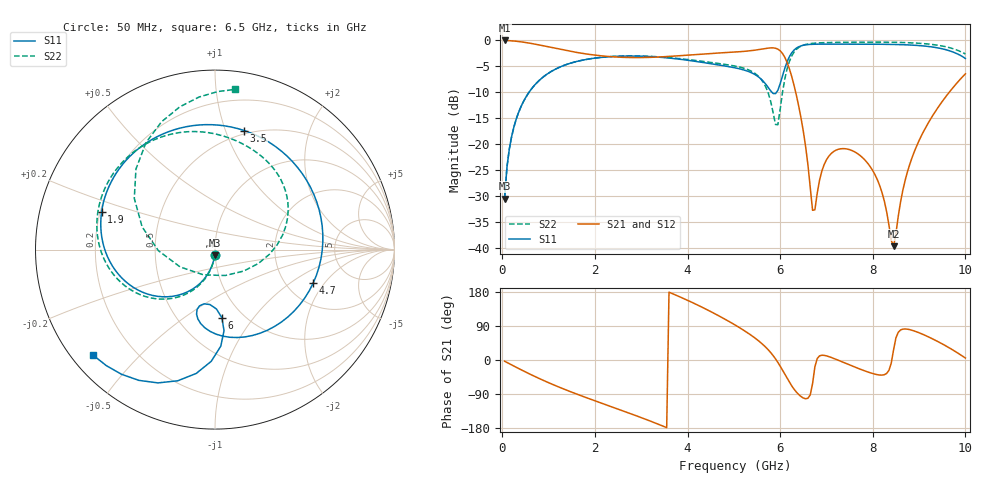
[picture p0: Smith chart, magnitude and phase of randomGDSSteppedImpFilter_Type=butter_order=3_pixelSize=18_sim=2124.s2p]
! freq	dB(S11)	phase(S11)	dB(S12)	phase(S12)
!  dB(S21)	phase(S21)	dB(S22)	phase(S22)
!S-par simulation data
#  GHz  S  DB  R 50
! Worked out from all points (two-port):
!   200 points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, 50 MHz to 10 GHz, reference 50 ohm
!   highest |S21| = -0.01 dB at 50 MHz (marker M1); lowest = -39.6 dB at 8.45 GHz (marker M2)
!   |S21| within 3 dB of the highest: start of sweep to 2.185 GHz; 3.724 GHz to 6.084 GHz (2.36 GHz wide, 48.1 % of centre)
!   lowest |S11| = -30.4 dB at 50 MHz (marker M3), VSWR 1.06, Z = 49.7 - j2.99 ohm
!   |S11| at or under -10 dB: start of sweep to 576.2 MHz; 5.826 GHz to 5.919 GHz (93.12 MHz wide, 1.59 % of centre)
!   |S22| runs from -30.4 to -0.3 dB; largest |S21 - S12| = 0
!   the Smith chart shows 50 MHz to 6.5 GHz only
!   S11 on the Smith chart (normalised r, x): 50 MHz: 0.99, -0.06; 1.9 GHz: 0.21, +0.15; 3.5 GHz: 0.47, +1.16; 4.7 GHz: 2.77, -1.56; 6 GHz: 0.80, -0.71; 6.5 GHz: 0.06, -0.37
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0.05  -30.42 -93.5  -0.01 -3.3  -0.01 -3.3  -30.42 -93.3
0.2  -18.56 -103.7  -0.08 -12.9  -0.08 -12.9  -18.56 -103.0
0.5  -11.07 -122.9  -0.40 -31.5  -0.40 -31.5  -11.07 -121.2
1.75  -3.77 169.0  -2.52 -96.5  -2.52 -96.5  -3.76 176.9
1.9  -3.54 161.7  -2.72 -103.2  -2.72 -103.2  -3.53 170.7
3.4  -3.24 82.5  -3.19 -171.0  -3.19 -171.0  -3.17 115.0
3.5  -3.31 76.2  -3.14 -176.0  -3.14 -176.0  -3.23 111.5
4.7  -4.76 -18.9  -2.41 114.9  -2.41 114.9  -4.48 70.5
5.05  -5.32 -52.2  -2.22 90.7  -2.22 90.7  -4.98 56.5
5.65  -8.00 -103.9  -1.61 38.3  -1.61 38.3  -8.28 12.2
6  -8.36 -84.2  -2.00 -16.2  -2.00 -16.2  -13.28 -153.5
6.2  -3.12 -98.6  -5.48 -58.7  -5.48 -58.7  -4.03 134.5
6.5  -0.94 -139.0  -17.47 -100.3  -17.47 -100.3  -0.92 82.7
6.7  -0.75 -159.4  -32.69 -62.4  -32.69 -62.4  -0.56 63.1
7  -0.72 175.7  -22.98 10.9  -22.98 10.9  -0.42 42.2
7.45  -0.72 143.6  -20.91 -10.5  -20.91 -10.5  -0.36 18.4
8.05  -0.73 103.7  -25.88 -37.4  -25.88 -37.4  -0.33 -8.2
8.35  -0.76 83.6  -35.59 -27.2  -35.59 -27.2  -0.35 -20.7
8.45  -0.78 76.8  -39.59 27.5  -39.59 27.5  -0.37 -24.9
8.75  -0.86 55.8  -25.25 81.3  -25.25 81.3  -0.44 -37.3
9.3  -1.28 14.3  -14.38 55.2  -14.38 55.2  -0.80 -60.8
10  -3.48 -49.3  -6.43 5.2  -6.43 5.2  -2.61 -94.4
